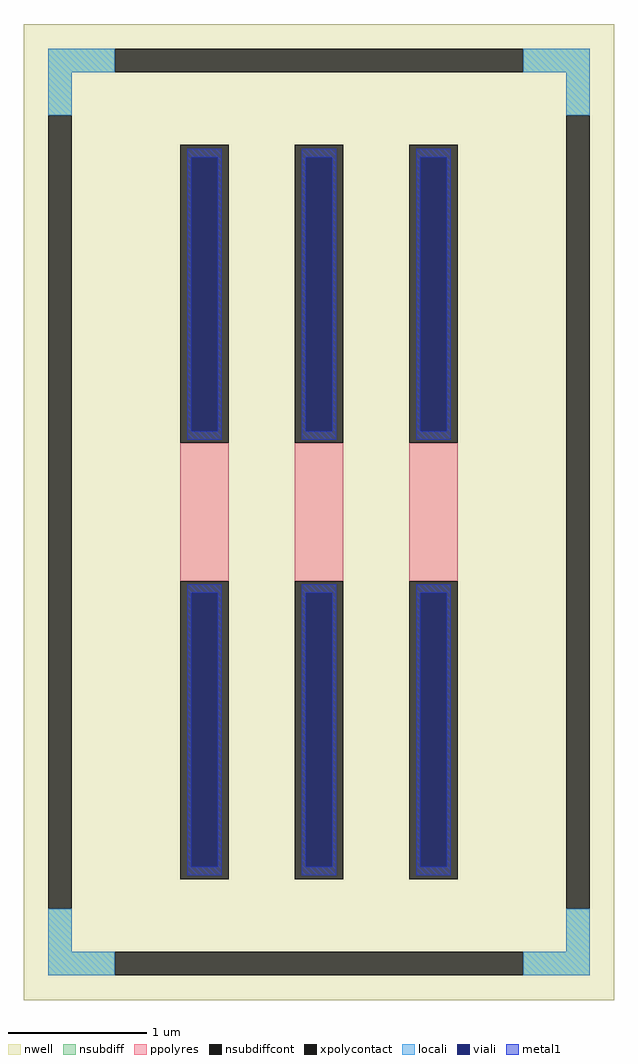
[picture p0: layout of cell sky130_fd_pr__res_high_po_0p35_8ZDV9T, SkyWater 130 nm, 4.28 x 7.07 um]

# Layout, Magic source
magic
tech sky130A
magscale 1 2
<< nwell >>
rect -428 -707 428 707
<< nsubdiff >>
rect -392 637 -296 671
rect 296 637 392 671
rect -392 575 -358 637
rect 358 575 392 637
rect -392 -637 -358 -575
rect 358 -637 392 -575
rect -392 -671 -296 -637
rect 296 -671 392 -637
<< nsubdiffcont >>
rect -296 637 296 671
rect -392 -575 -358 575
rect 358 -575 392 575
rect -296 -671 296 -637
<< xpolycontact >>
rect -201 100 -131 532
rect -201 -532 -131 -100
rect -35 100 35 532
rect -35 -532 35 -100
rect 131 100 201 532
rect 131 -532 201 -100
<< ppolyres >>
rect -201 -100 -131 100
rect -35 -100 35 100
rect 131 -100 201 100
<< locali >>
rect -392 637 -296 671
rect 296 637 392 671
rect -392 575 -358 637
rect 358 575 392 637
rect -392 -637 -358 -575
rect 358 -637 392 -575
rect -392 -671 -296 -637
rect 296 -671 392 -637
<< viali >>
rect -185 117 -147 514
rect -19 117 19 514
rect 147 117 185 514
rect -185 -514 -147 -117
rect -19 -514 19 -117
rect 147 -514 185 -117
<< metal1 >>
rect -191 514 -141 526
rect -191 117 -185 514
rect -147 117 -141 514
rect -191 105 -141 117
rect -25 514 25 526
rect -25 117 -19 514
rect 19 117 25 514
rect -25 105 25 117
rect 141 514 191 526
rect 141 117 147 514
rect 185 117 191 514
rect 141 105 191 117
rect -191 -117 -141 -105
rect -191 -514 -185 -117
rect -147 -514 -141 -117
rect -191 -526 -141 -514
rect -25 -117 25 -105
rect -25 -514 -19 -117
rect 19 -514 25 -117
rect -25 -526 25 -514
rect 141 -117 191 -105
rect 141 -514 147 -117
rect 185 -514 191 -117
rect 141 -526 191 -514
<< properties >>
string FIXED_BBOX -375 -654 375 654
string gencell sky130_fd_pr__res_high_po_0p35
string library sky130
string parameters w 0.35 l 1.0 m 1 nx 3 wmin 0.350 lmin 0.50 rho 319.8 val 2.026k dummy 0 dw 0.0 term 194.82 sterm 0.0 caplen 0 guard 1 glc 1 grc 1 gtc 1 gbc 1 compatible {sky130_fd_pr__res_high_po_0p35  sky130_fd_pr__res_high_po_0p69 sky130_fd_pr__res_high_po_1p41  sky130_fd_pr__res_high_po_2p85 sky130_fd_pr__res_high_po_5p73} snake 0 full_metal 1 wmax 0.350 vias 1 n_guard 1 hv_guard 0 viagb 0 viagt 0 viagl 0 viagr 0
<< end >>
